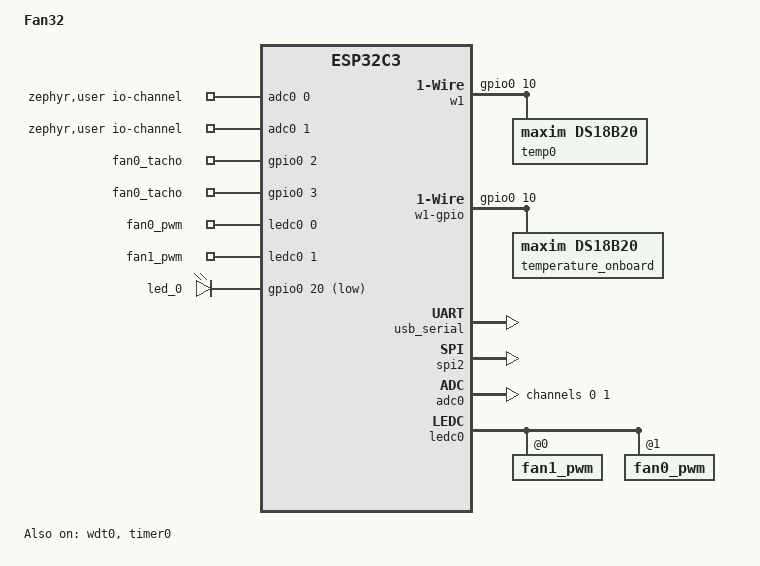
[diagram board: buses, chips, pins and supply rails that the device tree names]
/dts-v1/;

#include <espressif/esp32c3/esp32c3_mini_n4.dtsi>
#include <zephyr/dt-bindings/input/input-event-codes.h>
#include <espressif/partitions_0x0_default.dtsi>
#include <zephyr/dt-bindings/pwm/pwm.h>

#include "fan32-pinctrl.dtsi"

/ {
	model = "Fan32";
	compatible = "espressif,esp32c3";
	
	chosen {
		zephyr,sram = &sram1;
		zephyr,console = &usb_serial;
		zephyr,shell-uart = &usb_serial;
		zephyr,flash = &flash0;
		zephyr,code-partition = &slot0_partition;
	};
	
	zephyr,user {
		io-channels = <&adc0 0>, <&adc0 1>;
	};
	
	aliases {
		watchdog0 = &wdt0;
	};
	
	w1: w1 {
		compatible = "zephyr,w1-gpio";
		gpios = <&gpio0 10 (GPIO_ACTIVE_HIGH | GPIO_OPEN_DRAIN)>;
		temp0: ds18b20 {
			compatible = "maxim,ds18b20";
			family-code = <0x28>;
			resolution = <12>;
			status = "okay";
		};
	};
	
	buttons {
		compatible = "gpio-keys";
		fan0_tacho: fan0_tacho {
			gpios = <&gpio0 2 0>;
			label = "fan0_tacho";
		};
		fan1_tacho: fan1_tacho {
			gpios = <&gpio0 3 0>;
			label = "fan0_tacho";
		};
	};
	
	pwmfans {
		compatible = "pwm-leds";
		// Channel refers to order of definiton in pwm instance
		fan0_pwm: fan0_pwm {
			label = "fan0_pwm";
			pwms = <&ledc0 0 PWM_USEC(40) PWM_POLARITY_INVERTED>;
		};
		fan1_pwm: fan1_pwm {
			label = "fan1_pwm";
			pwms = <&ledc0 1 PWM_USEC(40) PWM_POLARITY_INVERTED>;
		};
	};
	
	w1-gpio {
		status = "okay";
		compatible = "zephyr,w1-gpio";
		gpios = <&gpio0 10 (GPIO_ACTIVE_HIGH | GPIO_OPEN_DRAIN)>;
		temperature_onboard: ds18b20 {
			status = "okay";
			compatible = "maxim,ds18b20";
			resolution = <12>;
		};
	};
	
	leds {
		compatible = "gpio-leds";
		led_0: led_0 {
			gpios = <&gpio0 20 GPIO_ACTIVE_LOW>;
		};
	};
};

&uart0 {
	status = "disabled";
	current-speed = <115200>;
	pinctrl-0 = <&uart0_default>;
	pinctrl-names = "default";
};

&usb_serial {
	status = "okay";
};

&spi2 {
	#address-cells = <1>;
	#size-cells = <0>;
	status = "okay";
	pinctrl-0 = <&spim2_default>;
	pinctrl-names = "default";
};

&gpio0 {
	status = "okay";
};

&wdt0 {
	status = "okay";
};

&timer0 {
	status = "okay";
};

&adc0 {
	status = "okay";
	#address-cells = <1>;
	#size-cells = <0>;
	poti0: channel@0 {
		reg = <0>;
		zephyr,gain = "ADC_GAIN_1_4";
		zephyr,reference = "ADC_REF_INTERNAL";
		zephyr,acquisition-time = <ADC_ACQ_TIME_DEFAULT>;
		zephyr,resolution = <12>;
	};
	poti1: channel@1 {
		reg = <1>;
		zephyr,gain = "ADC_GAIN_1_4";
		zephyr,reference = "ADC_REF_INTERNAL";
		zephyr,acquisition-time = <ADC_ACQ_TIME_DEFAULT>;
		zephyr,resolution = <12>;
	};
};

&ledc0 {
	status = "okay";
	pinctrl-0 = <&ledc0_default>;
	pinctrl-names = "default";
	#address-cells = <1>;
	#size-cells = <0>;
	fan1_pwm@0 {
		reg = <0x0>;
		timer = <0>;
		inverted;
	};
	fan0_pwm@1 {
		reg = <0x1>;
		timer = <0>;
		inverted;
	};
};
